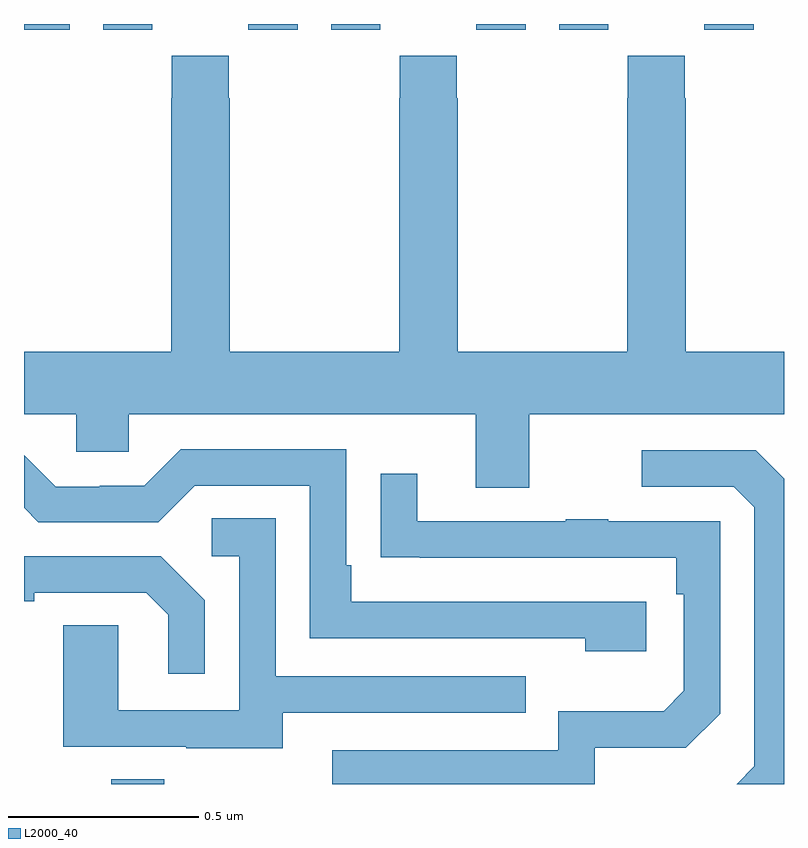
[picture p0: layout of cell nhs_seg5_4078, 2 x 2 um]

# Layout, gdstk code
import gdstk
lib = gdstk.Library(unit=1e-6, precision=1e-09)
def R(c, l, rs):  # rectangles x0, y0, x1, y1
    for r in rs: c.add(gdstk.rectangle(r[:2], r[2:], *l))
def P(c, l, *ps):  # polygons
    for p in ps: c.add(gdstk.Polygon(p, *l))
L2000_40 = (2000, 40)

nhs_seg5_4078 = lib.new_cell('nhs_seg5_4078')
R(nhs_seg5_4078, L2000_40, [(166.229,843.799,166.369,843.812), (166,845.784,166.12,845.799), (166.208,845.784,166.338,845.799), (166.59,845.784,166.72,845.799), (166.808,845.784,166.938,845.799), (167.19,845.784,167.32,845.799), (167.408,845.784,167.538,845.799), (167.79,845.784,167.92,845.799)])
P(nhs_seg5_4078, L2000_40, [(167.329,844.772),(168,844.772),(168,844.936),(167.742,844.936),(167.742,845.603),(167.739,845.603),(167.739,845.716),(167.589,845.716),(167.589,845.603),(167.587,845.603),(167.587,844.936),(167.142,844.936),(167.142,845.603),(167.139,845.603),(167.139,845.716),(166.989,845.716),(166.989,845.603),(166.987,845.603),(166.987,844.936),(166.542,844.936),(166.542,845.603),(166.539,845.603),(166.539,845.716),(166.389,845.716),(166.389,845.603),(166.387,845.603),(166.387,844.936),(166,844.936),(166,844.772),(166.137,844.772),(166.137,844.674),(166.275,844.674),(166.275,844.772),(167.189,844.772),(167.189,844.578),(167.329,844.578)],
  [(167.638,844.278),(166.861,844.278),(166.861,844.375),(166.848,844.375),(166.848,844.68),(166.413,844.68),(166.317,844.584),(166.199,844.584),(166.199,844.581),(166.083,844.581),(166,844.664),(166,844.526),(166.038,844.488),(166.353,844.488),(166.449,844.584),(166.752,844.584),(166.752,844.182),(167.477,844.182),(167.477,844.148),(167.638,844.148)],
  [(168,844.602),(167.925,844.677),(167.625,844.677),(167.625,844.581),(167.868,844.581),(167.922,844.527),(167.922,843.846),(167.875,843.799),(168,843.799)],
  [(167.502,843.894),(167.742,843.894),(167.832,843.984),(167.832,844.491),(167.537,844.491),(167.537,844.496),(167.425,844.496),(167.425,844.491),(167.035,844.491),(167.035,844.615),(166.939,844.615),(166.939,844.396),(167.041,844.396),(167.041,844.395),(167.716,844.395),(167.716,844.298),(167.736,844.298),(167.736,844.044),(167.683,843.991),(167.406,843.991),(167.406,843.888),(166.811,843.888),(166.811,843.799),(167.502,843.799)],
  [(166.681,843.987),(167.321,843.987),(167.321,844.083),(166.662,844.083),(166.662,844.499),(166.494,844.499),(166.494,844.398),(166.566,844.398),(166.566,843.993),(166.248,843.993),(166.248,844.217),(166.103,844.217),(166.103,843.897),(166.427,843.897),(166.427,843.893),(166.681,843.893)],
  [(166.476,844.282),(166.36,844.398),(166,844.398),(166,844.28),(166.027,844.28),(166.027,844.302),(166.322,844.302),(166.379,844.245),(166.379,844.089),(166.476,844.089)])

lib.write_gds('nhs_seg5_4078.gds')
